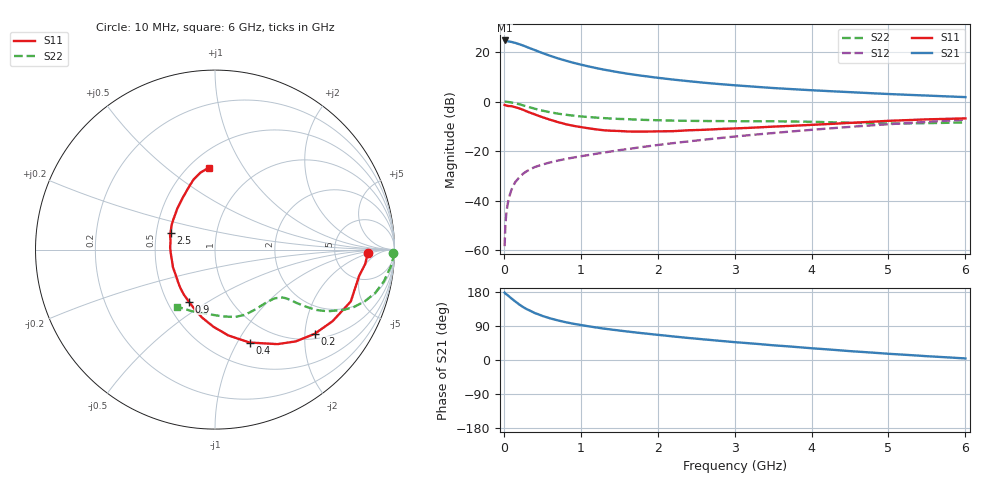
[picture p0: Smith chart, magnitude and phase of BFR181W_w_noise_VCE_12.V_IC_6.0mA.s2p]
! Infineon Technologies  Discrete & RF Semiconductors
! BFR181W
! VCE =  12. V,  IC =  6.0 mA
! Common Emitter S-Parameters:  Jan 2017
# GHz  S  MA  R  50
!  f  S11  S21  S12  S22
! GHz  MAG  ANG  MAG  ANG  MAG  ANG  MAG  ANG
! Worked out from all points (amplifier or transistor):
!   77 points, 10 MHz to 6 GHz, reference 50 ohm
!   highest |S21| = 24.7 dB at 10 MHz (marker M1)
!   |S21| within 3 dB of that: start of sweep to 328 MHz
!   unconditionally stable (mu >= 1): 1.316 GHz to 3.315 GHz
!   at 130 MHz: K = 0.18, MSG = 28.7 dB, |S12| = -33.6 dB
!   at 2.2 GHz: K = 1.07, MAG = 11.3 dB, |S12| = -16.8 dB
!   at 6 GHz: K = 0.85, MSG = 4.6 dB, |S12| = -7.3 dB
!   lowest NFmin = 1.03 dB at 450 MHz
!   S11 on the Smith chart (normalised r, x): 10 MHz: 12, -2; 200 MHz: 1.13, -2.25; 400 MHz: 0.76, -1.13; 900 MHz: 0.64, -0.41; 2.5 GHz: 0.59, +0.12; 6 GHz: 0.62, +0.71
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0.01  0.8524 -1.2  17.12 177.8  0.0012 83.8  0.9944 -1.0
0.02  0.8406 -5.5  16.93 175.4  0.0032 89.2  0.9967 -2.0
0.04  0.8238 -8.7  16.62 172.4  0.0067 83.6  0.9884 -4.3
0.1  0.8099 -20.9  15.98 162.2  0.0166 81.4  0.9578 -10.6
0.15  0.7671 -31.3  15.26 154.3  0.0238 73.8  0.9245 -15.2
0.2  0.727 -40.2  14.4 146.5  0.0293 70.9  0.8823 -19.1
0.25  0.6811 -48.7  13.54 139.8  0.0349 66.9  0.8383 -22.4
0.3  0.6308 -56.6  12.61 133.9  0.0394 63.9  0.7934 -25.0
0.4  0.553 -69.5  10.99 124.1  0.0474 60.8  0.7179 -28.6
0.5  0.4838 -81.2  9.556 116.4  0.0533 59.1  0.6562 -30.8
0.6  0.4298 -91.2  8.418 110.0  0.0589 57.8  0.6082 -31.9
0.7  0.3858 -100.7  7.471 104.6  0.064 57.7  0.5709 -32.6
0.9  0.324 -116.8  6.086 95.8  0.0737 58.1  0.5201 -33.5
1.1  0.2886 -131.9  5.126 89.0  0.0832 59.6  0.4867 -34.2
1.3  0.2628 -145.3  4.414 82.9  0.0931 60.3  0.4629 -35.3
1.6  0.2489 -163.0  3.669 75.3  0.1094 61.6  0.4406 -37.7
2.1  0.2506 173.3  2.896 64.4  0.1383 62.3  0.4156 -43.5
2.5  0.2655 159.0  2.489 56.3  0.163 62.2  0.4058 -49.6
3.1  0.2903 141.6  2.077 45.6  0.2031 60.7  0.4002 -59.0
4.1  0.3442 120.7  1.661 29.6  0.2762 55.6  0.387 -75.6
5.1  0.4133 105.7  1.398 15.2  0.3559 48.4  0.3603 -99.5
6  0.4575 94.3  1.229 4.1  0.4308 40.5  0.3809 -123.5
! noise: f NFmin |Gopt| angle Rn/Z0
0.45  1.03  0.28  16  0.22
0.9  1.07  0.26  30  0.22
1.9  1.49  0.12  82  0.19
2.4  1.65  0.1  95  0.23
